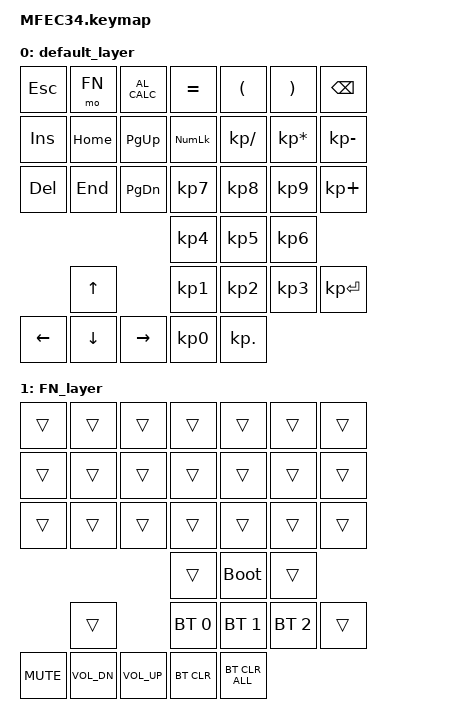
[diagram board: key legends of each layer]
/*
 * Copyright (c) 2020 The ZMK Contributors
 *
 * SPDX-License-Identifier: MIT
 */

#include <behaviors.dtsi>
#include <dt-bindings/zmk/keys.h>
#include <dt-bindings/zmk/bt.h>
#include <dt-bindings/zmk/backlight.h>

#define FN 1


// Using layer taps on thumbs, having quick tap as well helps w/ repeating space/backspace
&lt { quick_tap_ms = <200>; };

/ {
    behaviors {
        hm: homerow_mods {
            compatible = "zmk,behavior-hold-tap";
            label = "homerow mods";
            #binding-cells = <2>;
            tapping_term_ms = <200>;
            flavor = "tap-preferred";
            bindings = <&kp>, <&kp>;
        };
    };

    keymap {
        compatible = "zmk,keymap";

        default_layer {
            bindings = <
                &kp ESC    &mo FN     &kp C_AL_CALC         &kp EQUAL      &kp LPAR        &kp RPAR           &kp BSPC
                &kp INS    &kp HOME   &kp PG_UP             &kp KP_NLCK    &kp KP_SLASH    &kp KP_MULTIPLY    &kp KP_MINUS
                &kp DEL    &kp END     &kp PG_DN            &kp KP_N7      &kp KP_N8       &kp KP_N9          &kp KP_PLUS
                                                            &kp KP_N4      &kp KP_N5       &kp KP_N6    
                           &kp UP                           &kp KP_N1      &kp KP_N2       &kp KP_N3          &kp KP_ENTER
                &kp LEFT    &kp DOWN   &kp RIGHT            &kp KP_N0      &kp KP_DOT
            >;
        };

        FN_layer {
            bindings = <
                &trans     &trans     &trans                  &trans          &trans       &trans           &trans
                &trans     &trans     &trans                  &trans          &trans       &trans           &trans
                &trans     &trans     &trans                  &trans          &trans       &trans           &trans
                                                              &trans          &bootloader   &trans
                                 &trans                       &bt BT_SEL 0    &bt BT_SEL 1 &bt BT_SEL 2     &trans
               &kp C_MUTE   &kp C_VOL_DN  &kp C_VOL_UP        &bt BT_CLR      &bt BT_CLR_ALL
            >;
        };
    };
};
